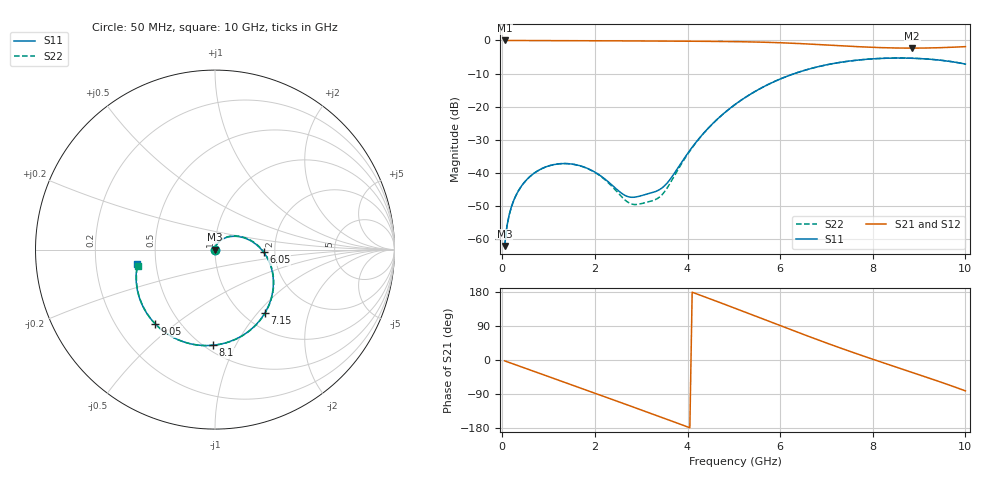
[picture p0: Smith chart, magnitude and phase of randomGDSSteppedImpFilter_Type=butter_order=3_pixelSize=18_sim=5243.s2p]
! freq	dB(S11)	phase(S11)	dB(S12)	phase(S12)
!  dB(S21)	phase(S21)	dB(S22)	phase(S22)
!S-par simulation data
#  GHz  S  DB  R 50
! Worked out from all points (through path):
!   200 points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, 50 MHz to 10 GHz, reference 50 ohm
!   highest |S21| = -0.01 dB at 50 MHz (marker M1); lowest = -2.3 dB at 8.85 GHz (marker M2)
!   group delay of S21, straight-line fit = 124 ps
!   lowest |S11| = -62.0 dB at 50 MHz (marker M3), VSWR 1.00, Z = 50 - j0.0792 ohm
!   |S11| at or under -10 dB: start of sweep to 6.307 GHz
!   |S22| runs from -62.0 to -5.3 dB; largest |S21 - S12| = 0
!   S11 on the Smith chart (normalised r, x): 50 MHz: 1.00, -0.00; 6.05 GHz: 1.74, -0.05; 7.15 GHz: 1.24, -1.09; 8.1 GHz: 0.55, -0.82; 9.05 GHz: 0.37, -0.42; 10 GHz: 0.39, -0.08
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0.05  -62.02 -87.8  -0.01 -2.3  -0.01 -2.3  -62.05 -87.7
0.1  -56.02 -92.2  -0.01 -4.5  -0.01 -4.5  -56.05 -92.1
0.2  -50.05 -97.8  -0.02 -8.8  -0.02 -8.8  -50.07 -97.7
0.35  -45.30 -105.2  -0.03 -15.4  -0.03 -15.4  -45.31 -104.9
0.55  -41.67 -114.8  -0.03 -24.1  -0.03 -24.1  -41.67 -114.5
1.1  -37.49 -142.1  -0.05 -48.2  -0.05 -48.2  -37.48 -141.5
1.75  -38.10 -177.1  -0.09 -76.7  -0.09 -76.7  -38.13 -175.2
2.25  -42.18 147.3  -0.11 -98.6  -0.11 -98.6  -42.41 152.0
2.75  -47.24 80.0  -0.14 -120.7  -0.14 -120.7  -49.11 86.3
3.4  -44.96 45.7  -0.18 -149.6  -0.18 -149.6  -47.18 51.3
4.2  -30.41 69.9  -0.25 174.4  -0.25 174.4  -30.51 73.6
4.6  -24.31 58.1  -0.29 156.2  -0.29 156.2  -24.34 60.2
5.05  -19.08 40.7  -0.36 135.4  -0.36 135.4  -19.09 42.0
5.55  -14.66 19.2  -0.50 112.0  -0.50 112.0  -14.66 20.1
6.05  -11.35 -3.0  -0.72 88.5  -0.72 88.5  -11.35 -2.3
6.7  -8.34 -32.0  -1.14 58.5  -1.14 58.5  -8.34 -31.5
7.15  -6.96 -51.6  -1.49 38.3  -1.49 38.3  -6.96 -51.1
8.1  -5.47 -91.0  -2.13 -2.2  -2.13 -2.2  -5.47 -90.6
8.35  -5.34 -101.0  -2.23 -12.4  -2.23 -12.4  -5.34 -100.6
8.85  -5.37 -120.9  -2.32 -32.7  -2.32 -32.7  -5.37 -120.4
9.05  -5.49 -129.0  -2.30 -40.9  -2.30 -40.9  -5.49 -128.4
10  -7.13 -169.1  -1.87 -81.4  -1.87 -81.4  -7.12 -168.4
